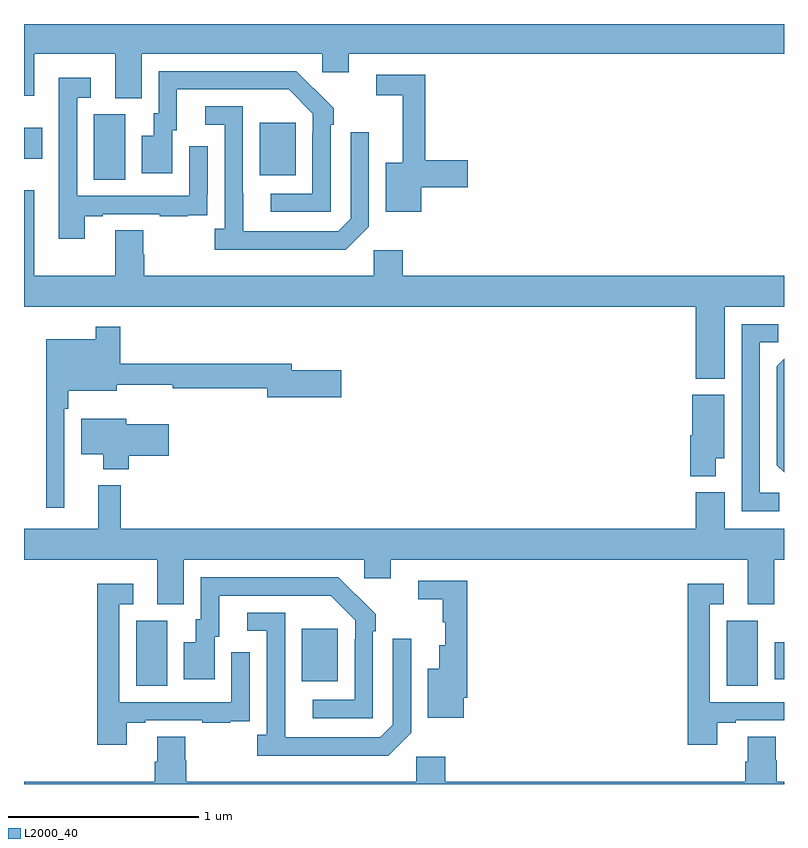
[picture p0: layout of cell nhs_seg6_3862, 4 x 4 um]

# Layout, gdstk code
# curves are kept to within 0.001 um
import gdstk
lib = gdstk.Library(unit=1e-6, precision=1e-09)
def R(c, l, rs):  # rectangles x0, y0, x1, y1
    for r in rs: c.add(gdstk.rectangle(r[:2], r[2:], *l))
def P(c, l, *ps):  # polygons
    for p in ps: c.add(gdstk.Polygon(p, *l))
L2000_40 = (2000, 40)

nhs_seg6_3862 = lib.new_cell('nhs_seg6_3862')
R(nhs_seg6_3862, L2000_40, [(339.59,936.016,339.754,936.36), (342.698,936.016,342.862,936.36), (340.463,936.041,340.651,936.316), (342.95,936.051,343,936.247), (339.368,938.68,339.532,939.024), (340.241,938.705,340.429,938.98), (339,938.792,339.097,938.953)])
P(nhs_seg6_3862, L2000_40, [(339.619,939.344),(340.569,939.344),(340.569,939.246),(340.708,939.246),(340.708,939.344),(343,939.344),(343,939.5),(339,939.5),(339,939.123),(339.055,939.123),(339.055,939.344),(339.479,939.344),(339.479,939.109),(339.619,939.109)],
  [(340.614,938.969),(340.629,938.969),(340.629,939.057),(340.432,939.252),(339.708,939.252),(339.708,939.03),(339.683,939.03),(339.683,938.911),(339.62,938.911),(339.62,938.715),(339.781,938.715),(339.781,938.94),(339.805,938.94),(339.805,939.156),(340.393,939.156),(340.521,939.027),(340.521,938.927),(340.518,938.927),(340.518,938.607),(340.299,938.607),(340.299,938.511),(340.614,938.511)],
  [(341.092,938.641),(341.335,938.641),(341.335,938.783),(341.111,938.783),(341.111,939.234),(340.854,939.234),(340.854,939.126),(340.994,939.126),(340.994,938.77),(340.904,938.77),(340.904,938.513),(341.092,938.513)],
  [(339.319,938.487),(339.415,938.487),(339.415,938.499),(339.715,938.499),(339.715,938.487),(339.863,938.487),(339.863,938.493),(339.965,938.493),(339.965,938.602),(339.966,938.602),(339.966,938.857),(339.87,938.857),(339.87,938.595),(339.279,938.595),(339.279,939.111),(339.352,939.111),(339.352,939.217),(339.183,939.217),(339.183,938.37),(339.319,938.37)],
  [(340.815,938.433),(340.815,938.929),(340.719,938.929),(340.719,938.475),(340.653,938.409),(340.153,938.409),(340.152,939.066),(339.954,939.066),(339.954,938.97),(340.056,938.97),(340.056,938.422),(340.005,938.422),(340.005,938.312),(340.694,938.312)],
  [(342.688,938.012),(343,938.012),(343,938.176),(340.994,938.176),(340.994,938.308),(340.842,938.308),(340.842,938.176),(339.632,938.176),(339.632,938.289),(339.627,938.289),(339.627,938.414),(339.479,938.414),(339.479,938.176),(339.055,938.176),(339.055,938.626),(339,938.626),(339,938.012),(342.536,938.012),(342.536,937.634),(342.688,937.634)],
  [(342.976,937.032),(342.873,937.032),(342.873,937.825),(342.969,937.825),(342.969,937.92),(342.777,937.92),(342.777,936.936),(342.976,936.936)],
  [(339.213,937.475),(339.233,937.475),(339.233,937.571),(339.487,937.571),(339.487,937.601),(339.783,937.601),(339.783,937.582),(340.28,937.582),(340.28,937.535),(340.669,937.535),(340.669,937.677),(340.408,937.677),(340.408,937.711),(339.506,937.711),(339.506,937.906),(339.378,937.906),(339.378,937.84),(339.116,937.84),(339.116,936.954),(339.213,936.954)],
  [(343,937.737),(342.963,937.7),(342.963,937.178),(343,937.141)],
  [(342.64,937.214),(342.685,937.214),(342.685,937.549),(342.518,937.549),(342.518,937.335),(342.506,937.335),(342.506,937.121),(342.64,937.121)],
  [(339.551,937.228),(339.763,937.228),(339.763,937.393),(339.538,937.393),(339.538,937.423),(339.302,937.423),(339.302,937.235),(339.416,937.235),(339.416,937.157),(339.551,937.157)],
  [(339.841,936.68),(340.791,936.68),(340.791,936.582),(340.93,936.582),(340.93,936.68),(342.809,936.68),(342.809,936.445),(342.949,936.445),(342.949,936.68),(343,936.68),(343,936.844),(342.688,936.844),(342.688,937.036),(342.536,937.036),(342.536,936.844),(339.509,936.844),(339.509,937.072),(339.392,937.072),(339.392,936.844),(339,936.844),(339,936.68),(339.701,936.68),(339.701,936.445),(339.841,936.445)],
  [(340.836,936.305),(340.851,936.305),(340.851,936.393),(340.654,936.588),(339.93,936.588),(339.93,936.366),(339.905,936.366),(339.905,936.247),(339.842,936.247),(339.842,936.051),(340.003,936.051),(340.003,936.276),(340.027,936.276),(340.027,936.492),(340.615,936.492),(340.743,936.363),(340.743,936.263),(340.74,936.263),(340.74,935.943),(340.521,935.943),(340.521,935.847),(340.836,935.847)],
  [(341.314,935.953),(341.333,935.953),(341.333,936.57),(341.076,936.57),(341.076,936.472),(341.205,936.472),(341.205,936.351),(341.216,936.351),(341.216,936.229),(341.186,936.229),(341.186,936.106),(341.126,936.106),(341.126,935.849),(341.314,935.849)],
  [(342.649,935.823),(342.745,935.823),(342.745,935.835),(343,935.835),(343,935.931),(342.609,935.931),(342.609,936.447),(342.682,936.447),(342.682,936.553),(342.493,936.553),(342.493,935.706),(342.649,935.706)],
  [(339.541,935.823),(339.637,935.823),(339.637,935.835),(339.937,935.835),(339.937,935.823),(340.085,935.823),(340.085,935.829),(340.187,935.829),(340.187,935.938),(340.188,935.938),(340.188,936.193),(340.092,936.193),(340.092,935.931),(339.501,935.931),(339.501,936.447),(339.574,936.447),(339.574,936.553),(339.385,936.553),(339.385,935.706),(339.541,935.706)],
  [(341.037,935.769),(341.037,936.265),(340.941,936.265),(340.941,935.811),(340.875,935.745),(340.375,935.745),(340.374,936.402),(340.176,936.402),(340.176,936.306),(340.278,936.306),(340.278,935.758),(340.227,935.758),(340.227,935.648),(340.916,935.648)],
  [(343,935.512),(342.962,935.512),(342.962,935.625),(342.957,935.625),(342.957,935.75),(342.809,935.75),(342.809,935.618),(342.797,935.618),(342.797,935.512),(341.216,935.512),(341.216,935.644),(341.064,935.644),(341.064,935.512),(339.854,935.512),(339.854,935.625),(339.849,935.625),(339.849,935.75),(339.701,935.75),(339.701,935.618),(339.689,935.618),(339.689,935.512),(339,935.512),(339,935.5),(343,935.5)])

lib.write_gds('nhs_seg6_3862.gds')
